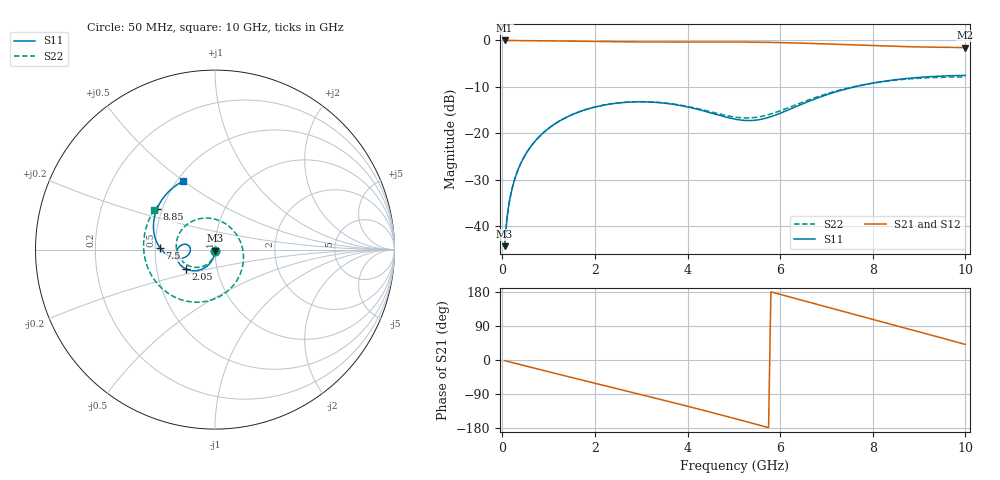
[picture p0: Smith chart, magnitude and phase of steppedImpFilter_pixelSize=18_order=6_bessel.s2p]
! freq	dB(S11)	phase(S11)	dB(S12)	phase(S12)
!  dB(S21)	phase(S21)	dB(S22)	phase(S22)
!S-par simulation data
#  GHz  S  DB  R 50
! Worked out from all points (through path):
!   200 points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, 50 MHz to 10 GHz, reference 50 ohm
!   highest |S21| = 0.00 dB at 50 MHz (marker M1); lowest = -1.5 dB at 10 GHz (marker M2)
!   group delay of S21, straight-line fit = 88.7 ps
!   lowest |S11| = -44.3 dB at 50 MHz (marker M3), VSWR 1.01, Z = 50 - j0.61 ohm
!   |S11| at or under -10 dB: start of sweep to 7.606 GHz
!   |S22| runs from -44.3 to -7.9 dB; largest |S21 - S12| = 0
!   S11 on the Smith chart (normalised r, x): 50 MHz: 1.00, -0.01; 2.05 GHz: 0.71, -0.16; 7.5 GHz: 0.53, +0.01; 8.85 GHz: 0.47, +0.25; 10 GHz: 0.54, +0.50
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0.05  -44.29 -91.0  -0.00 -1.6  -0.00 -1.6  -44.28 -91.3
0.1  -38.31 -92.7  -0.01 -3.1  -0.01 -3.1  -38.32 -93.3
0.2  -32.37 -95.8  -0.01 -6.3  -0.01 -6.3  -32.37 -97.1
0.35  -27.59 -100.3  -0.02 -10.9  -0.02 -10.9  -27.59 -102.5
0.5  -24.57 -104.6  -0.03 -15.6  -0.03 -15.6  -24.57 -107.8
0.7  -21.77 -110.3  -0.05 -21.7  -0.05 -21.7  -21.78 -114.7
1  -18.93 -118.6  -0.09 -31.0  -0.09 -31.0  -18.93 -125.0
1.75  -15.05 -138.7  -0.20 -53.8  -0.20 -53.8  -15.05 -150.9
2.05  -14.22 -146.3  -0.24 -62.9  -0.24 -62.9  -14.21 -161.4
2.75  -13.27 -163.3  -0.31 -83.9  -0.31 -83.9  -13.25 173.2
3.4  -13.40 -177.1  -0.33 -103.6  -0.33 -103.6  -13.35 147.3
4.2  -14.78 171.2  -0.33 -128.3  -0.33 -128.3  -14.64 109.0
5.05  -16.99 174.5  -0.34 -155.5  -0.34 -155.5  -16.53 51.5
5.45  -17.19 -176.6  -0.37 -168.6  -0.37 -168.6  -16.59 17.7
5.85  -16.24 -168.3  -0.43 178.2  -0.43 178.2  -15.67 -15.3
6.25  -14.64 -165.3  -0.52 164.9  -0.52 164.9  -14.20 -43.9
6.7  -12.79 -168.0  -0.65 149.9  -0.65 149.9  -12.50 -70.5
7.5  -10.26 178.1  -0.94 123.4  -0.94 123.4  -10.16 -109.2
8.35  -8.64 157.9  -1.23 95.6  -1.23 95.6  -8.70 -144.6
8.85  -8.08 145.0  -1.37 79.3  -1.37 79.3  -8.23 -164.6
9.45  -7.68 129.3  -1.47 59.5  -1.47 59.5  -7.94 171.0
10  -7.52 115.0  -1.52 41.0  -1.52 41.0  -7.87 147.4
